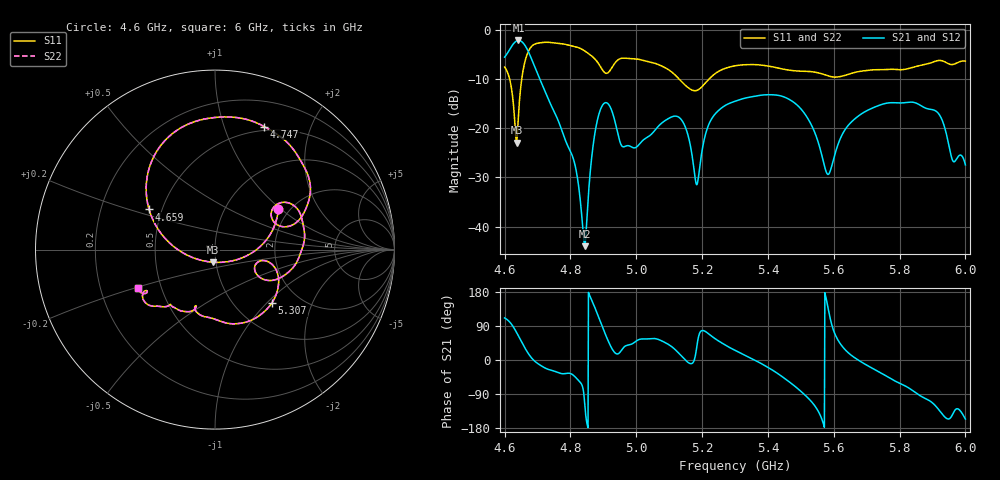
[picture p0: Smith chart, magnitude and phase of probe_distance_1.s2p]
! TOUCHSTONE file generated by CST MICROWAVE STUDIO
! Date and time: Sat Nov 30 13:10:55 2024
! Project name: test_tuning.cst
! Parameters = {airCoaxOuterDiameter=3; chamferAngle=45; chamferWidth=24; connectorLength=10; drillingHoleDiameter=4.1; feedLength=60; flareDiameter=130; flareLength=70; gratingDistance=0; gratingGap=1.90274; outletLength=30; polarizerLength=134; probe1Diameter=1.3; probe1Distance=8; probe1Length=12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
! Header version: 2024
! Port assignment regex: !\s*Touchstone port\s*([0-9]+)\s*=\s*(CST MWS port|CST DES external port|CST DES block port)\s*(.+)\s* \(\"(.*)\"\)(\s*mode\s*([0-9]+))?.*
! Touchstone port assignment:
! Touchstone port 1 = CST MWS port 1 ("Input1")
! Touchstone port 2 = CST MWS port 2 ("Input2")
# GHz S MA R 50
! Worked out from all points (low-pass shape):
!   1001 points, 4.6 GHz to 6 GHz, reference 50 ohm
!   highest |S21| = -2.17 dB at 4.642 GHz (marker M1); lowest = -44.0 dB at 4.844 GHz (marker M2)
!   |S21| within 3 dB of the highest: 4.604 GHz to 4.677 GHz (72.62 MHz wide, 1.56 % of centre)
!   lowest |S11| = -22.9 dB at 4.636 GHz (marker M3), VSWR 1.15, Z = 48.3 - j6.82 ohm
!   |S11| at or under -10 dB: 4.615 GHz to 4.652 GHz (36.93 MHz wide, 0.797 % of centre); 5.13 GHz to 5.221 GHz (91.48 MHz wide, 1.77 % of centre)
!   |S22| runs from -22.9 to -2.5 dB; largest |S21 - S12| = 1.1e-06
!   S11 on the Smith chart (normalised r, x): 4.6 GHz: 1.76, +0.96; 4.659 GHz: 0.42, +0.23; 4.747 GHz: 0.46, +1.38; 5.307 GHz: 1.47, -1.07; 6 GHz: 0.37, -0.20
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4.6  0.4187 32.4  0.5273 111.1  0.5273 111.1  0.4187 32.4
4.6364  0.07144 -100.4  0.7693 72.6  0.7693 72.6  0.07144 -100.4
4.642  0.1357 -161.6  0.7787 63.6  0.7787 63.6  0.1357 -161.6
4.6588  0.43 148.7  0.7171 36.3  0.7171 36.3  0.43 148.7
4.691  0.7133 102.7  0.4227 -2.7  0.4227 -2.7  0.7133 102.7
4.747  0.7381 68.1  0.1557 -28.4  0.1557 -28.4  0.7381 68.1
4.8338  0.6373 33.5  0.01358 -63.9  0.01358 -63.9  0.6373 33.5
4.8436  0.6086 29.6  0.006338 -117.2  0.006338 -117.2  0.6086 29.6
4.8716  0.5158 20.8  0.07775 143.8  0.07775 143.8  0.5158 20.8
4.8982  0.3875 19.7  0.1727 85.2  0.1727 85.2  0.3875 19.7
4.9612  0.5152 22.8  0.06469 32.8  0.06469 32.8  0.5152 22.8
5.0676  0.4428 -13.8  0.105 54.1  0.105 54.1  0.4428 -13.8
5.1376  0.297 -31.8  0.1214 10.1  0.1214 10.1  0.297 -31.8
5.1838  0.2419 -19.1  0.02667 34.3  0.02667 34.3  0.2419 -19.1
5.2244  0.3239 -14.1  0.1168 66.0  0.1168 66.0  0.3239 -14.1
5.3  0.4303 -40.4  0.1878 25.6  0.1878 25.6  0.4303 -40.4
5.307  0.4342 -43.0  0.1913 22.6  0.1913 22.6  0.4342 -43.0
5.5338  0.3747 -102.0  0.105 -111.4  0.105 -111.4  0.3747 -102.0
5.5842  0.3393 -109.4  0.03408 130.9  0.03408 130.9  0.3393 -109.4
5.7676  0.3959 -125.9  0.181 -46.3  0.181 -46.3  0.3959 -125.9
5.9118  0.4826 -140.4  0.1482 -123.4  0.1482 -123.4  0.4826 -140.4
6  0.4797 -153.8  0.04239 -155.8  0.04239 -155.8  0.4797 -153.8
